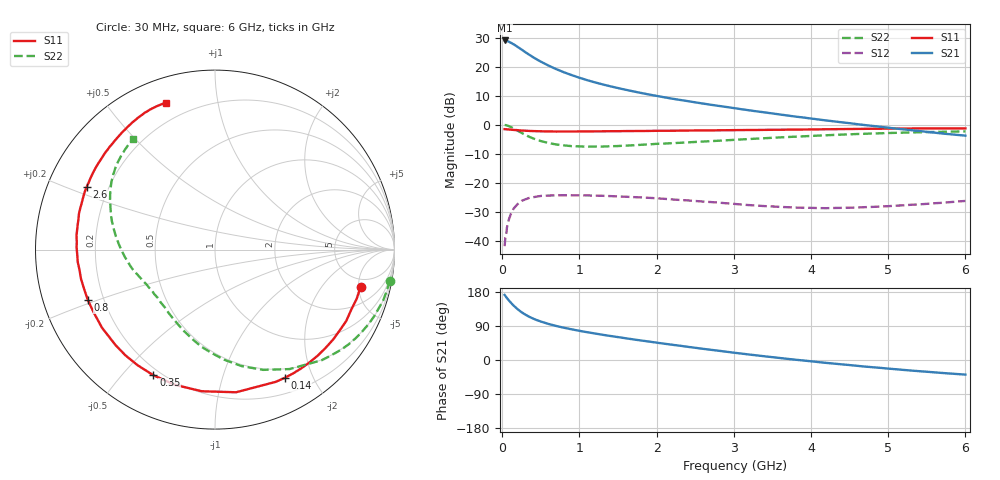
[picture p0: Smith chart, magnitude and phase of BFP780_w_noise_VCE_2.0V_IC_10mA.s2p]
! Infineon Technologies  Discrete & RF Semiconductors
! BFP780
! VCE =  2.0 V,  IC =  10 mA
! Common Emitter S-Parameters:  Jul 2015
# GHz  S  MA  R  50
!  f  S11  S21  S12  S22
! GHz  MAG  ANG  MAG  ANG  MAG  ANG  MAG  ANG
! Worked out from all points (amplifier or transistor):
!   75 points, 30 MHz to 6 GHz, reference 50 ohm
!   highest |S21| = 29.1 dB at 30 MHz (marker M1)
!   |S21| within 3 dB of that: start of sweep to 242.3 MHz
!   unconditionally stable (mu >= 1): 2.658 GHz to end of sweep
!   at 150 MHz: K = 0.05, MSG = 28.3 dB, |S12| = -28.8 dB
!   at 2.3 GHz: K = 0.82, MSG = 17.3 dB, |S12| = -26.0 dB
!   at 6 GHz: K = 1.74, MAG = 6.3 dB, |S12| = -26.3 dB
!   lowest NFmin = 0.78 dB at 450 MHz
!   S11 on the Smith chart (normalised r, x): 30 MHz: 3.78, -5.26; 140 MHz: 0.38, -1.61; 350 MHz: 0.17, -0.61; 800 MHz: 0.14, -0.19; 2.6 GHz: 0.12, +0.23; 6 GHz: 0.11, +0.72
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0.03  0.837 -14.4  28.41 171.8  0.008 87.0  0.9895 -10.1
0.05  0.8297 -23.9  28.15 166.1  0.012 72.3  0.9788 -16.9
0.09  0.8242 -41.7  26.86 156.1  0.0241 68.0  0.9383 -29.2
0.12  0.8178 -54.0  25.58 149.3  0.0302 62.5  0.899 -38.1
0.14  0.8134 -61.5  24.65 145.0  0.0343 57.0  0.8689 -43.5
0.15  0.8106 -65.4  24.31 143.0  0.0361 55.0  0.8564 -46.0
0.2  0.8035 -81.6  21.93 133.9  0.0428 46.0  0.7849 -58.0
0.25  0.7926 -95.3  19.8 126.0  0.0484 39.3  0.7217 -68.2
0.3  0.7859 -106.4  17.75 119.6  0.0515 34.1  0.6653 -77.2
0.35  0.7797 -116.1  16.09 114.0  0.0545 29.0  0.6169 -85.0
0.4  0.7752 -123.9  14.58 109.2  0.056 24.8  0.579 -91.4
0.5  0.7683 -136.1  12.22 101.4  0.0589 18.5  0.521 -102.8
0.6  0.7655 -145.4  10.45 95.1  0.0598 13.7  0.4819 -111.9
0.8  0.7623 -158.5  8.007 85.1  0.0606 6.6  0.4387 -125.7
1.1  0.7634 -171.5  5.858 73.4  0.0601 -0.6  0.4172 -140.1
1.5  0.7715 176.6  4.281 60.4  0.0577 -7.3  0.4279 -153.0
2.1  0.7851 163.3  2.965 43.0  0.0525 -14.6  0.4718 -166.6
2.6  0.7958 153.8  2.312 29.5  0.0471 -17.5  0.5112 -177.3
3.1  0.8069 145.1  1.847 16.9  0.0418 -17.3  0.5563 172.6
4.1  0.8303 129.6  1.228 -5.6  0.0363 -7.5  0.648 154.5
5.1  0.8571 117.3  0.857 -24.4  0.04 3.7  0.723 139.3
6  0.8635 108.4  0.646 -38.6  0.0483 7.1  0.7666 126.5
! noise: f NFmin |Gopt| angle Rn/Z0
0.45  0.78  0.21  99  0.08
0.9  0.87  0.24  126  0.11
1.5  1.06  0.36  157  0.06
1.8  1.29  0.44  173  0.06
2.4  1.55  0.52  -176  0.07
3  1.98  0.57  -157  0.12
3.5  2.67  0.62  -142  0.24
